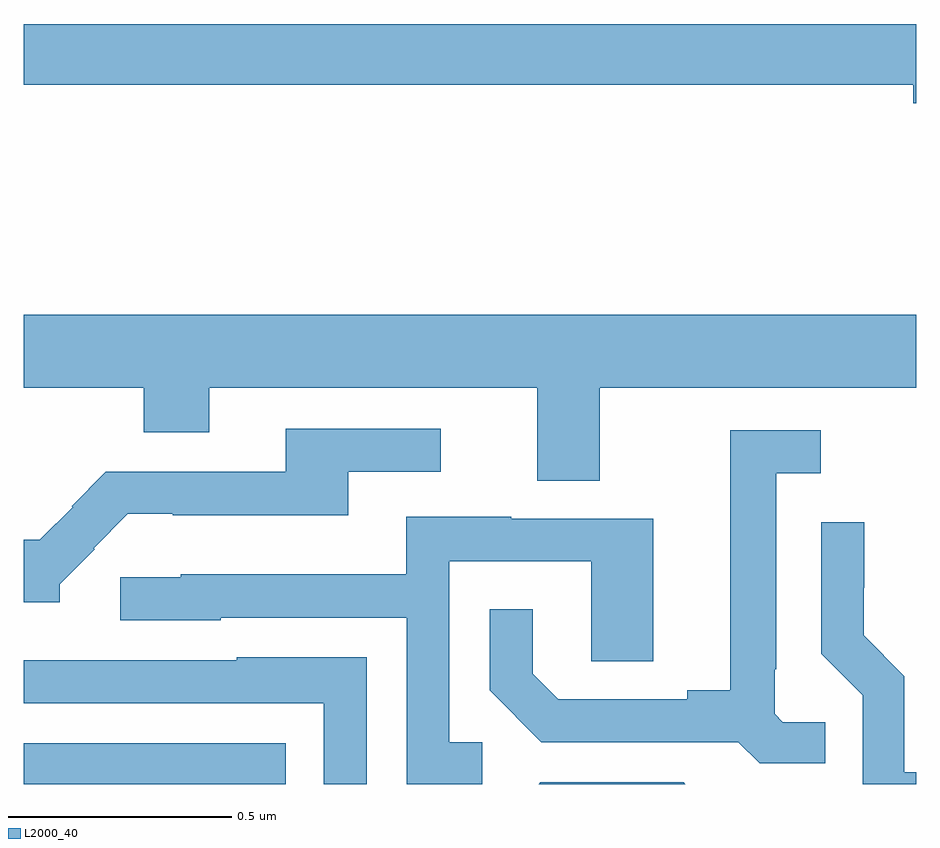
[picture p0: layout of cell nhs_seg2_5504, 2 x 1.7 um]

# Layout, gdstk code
import gdstk
lib = gdstk.Library(unit=1e-6, precision=1e-09)
def R(c, l, rs):  # rectangles x0, y0, x1, y1
    for r in rs: c.add(gdstk.rectangle(r[:2], r[2:], *l))
def P(c, l, *ps):  # polygons
    for p in ps: c.add(gdstk.Polygon(p, *l))
L2000_40 = (2000, 40)

nhs_seg2_5504 = lib.new_cell('nhs_seg2_5504')
R(nhs_seg2_5504, L2000_40, [(180,594.8,180.587,594.891)])
P(nhs_seg2_5504, L2000_40, [(182,596.504),(180,596.504),(180,596.368),(181.994,596.368),(181.994,596.326),(182,596.326)],
  [(181.291,595.688),(182,595.688),(182,595.852),(180,595.852),(180,595.688),(180.268,595.688),(180.268,595.589),(180.415,595.589),(180.415,595.688),(181.151,595.688),(181.151,595.48),(181.291,595.48)],
  [(180.08,595.248),(180.159,595.326),(180.156,595.329),(180.233,595.406),(180.334,595.406),(180.334,595.403),(180.727,595.403),(180.727,595.5),(180.934,595.5),(180.934,595.596),(180.587,595.596),(180.587,595.5),(180.183,595.5),(180.107,595.423),(180.109,595.421),(180.035,595.348),(180,595.348),(180,595.208),(180.08,595.208)],
  [(181.796,594.939),(181.701,594.939),(181.683,594.957),(181.683,595.057),(181.687,595.057),(181.687,595.497),(181.786,595.497),(181.786,595.593),(181.583,595.593),(181.583,595.01),(181.487,595.01),(181.487,594.99),(181.198,594.99),(181.141,595.047),(181.141,595.192),(181.044,595.192),(181.044,595.01),(181.16,594.894),(181.602,594.894),(181.65,594.847),(181.796,594.847)],
  [(181.027,594.894),(180.954,594.894),(180.954,595.299),(181.272,595.299),(181.272,595.075),(181.411,595.075),(181.411,595.395),(181.093,595.395),(181.093,595.399),(180.857,595.399),(180.857,595.27),(180.351,595.27),(180.351,595.263),(180.216,595.263),(180.216,595.167),(180.441,595.167),(180.441,595.173),(180.858,595.173),(180.858,594.8),(181.027,594.8)],
  [(182,594.826),(181.974,594.826),(181.974,595.042),(181.883,595.134),(181.883,595.24),(181.884,595.24),(181.884,595.387),(181.788,595.387),(181.788,595.092),(181.881,594.999),(181.881,594.8),(182,594.8)],
  [(180.768,595.084),(180.477,595.084),(180.477,595.077),(180.045,595.077),(180.045,595.078),(180,595.078),(180,594.981),(180.672,594.981),(180.672,594.8),(180.768,594.8)],
  [(181.479,594.804),(181.158,594.804),(181.154,594.8),(181.483,594.8)])

lib.write_gds('nhs_seg2_5504.gds')
